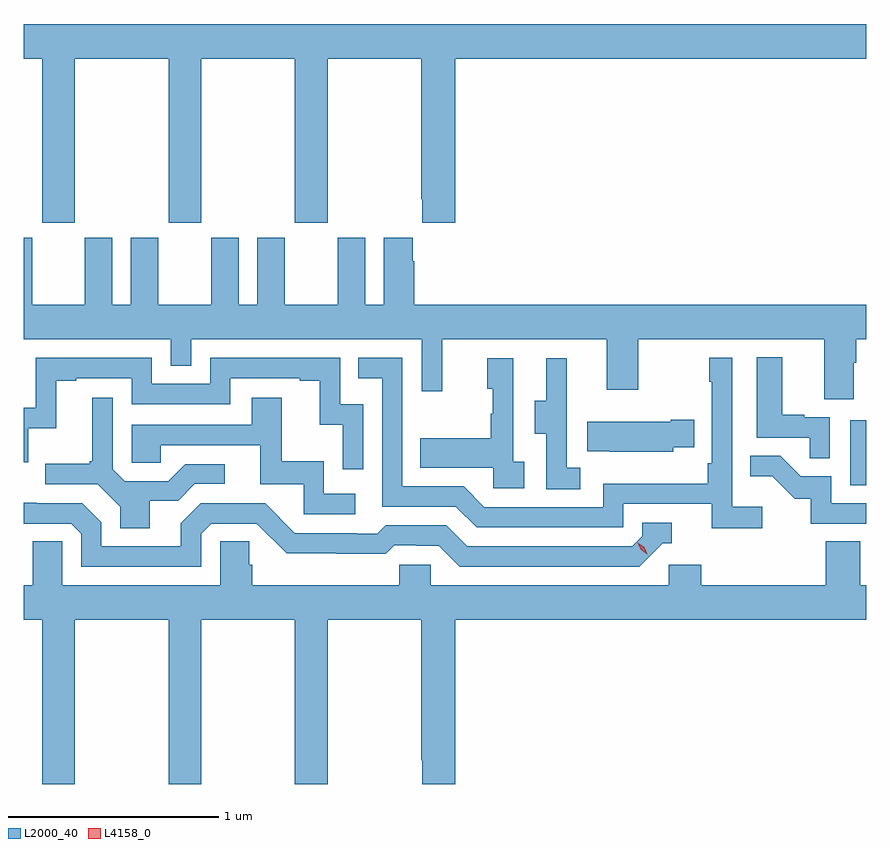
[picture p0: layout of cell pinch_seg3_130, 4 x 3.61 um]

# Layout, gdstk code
import gdstk
lib = gdstk.Library(unit=1e-6, precision=1e-09)
def R(c, l, rs):  # rectangles x0, y0, x1, y1
    for r in rs: c.add(gdstk.rectangle(r[:2], r[2:], *l))
def P(c, l, *ps):  # polygons
    for p in ps: c.add(gdstk.Polygon(p, *l))
L2000_40 = (2000, 40)
L4158_0 = (4158, 0)

pinch_seg3_130 = lib.new_cell('pinch_seg3_130')
R(pinch_seg3_130, L2000_40, [(1141.274,712.212,1141.351,712.519)])
P(pinch_seg3_130, L2000_40, [(1137.594,714.236),(1138.039,714.236),(1138.039,713.457),(1138.194,713.457),(1138.194,714.236),(1138.639,714.236),(1138.639,713.457),(1138.794,713.457),(1138.794,714.236),(1139.239,714.236),(1139.239,713.569),(1139.243,713.569),(1139.243,713.457),(1139.399,713.457),(1139.399,714.236),(1141.351,714.236),(1141.351,714.4),(1137.351,714.4),(1137.351,714.236),(1137.439,714.236),(1137.439,713.457),(1137.594,713.457)],
  [(1141.291,712.792),(1141.304,712.792),(1141.304,712.904),(1141.351,712.904),(1141.351,713.068),(1139.204,713.068),(1139.204,713.273),(1139.197,713.273),(1139.197,713.386),(1139.06,713.386),(1139.06,713.068),(1138.972,713.068),(1138.972,713.386),(1138.841,713.386),(1138.841,713.068),(1138.591,713.068),(1138.591,713.386),(1138.46,713.386),(1138.46,713.068),(1138.372,713.068),(1138.372,713.386),(1138.241,713.386),(1138.241,713.068),(1137.991,713.068),(1137.991,713.386),(1137.86,713.386),(1137.86,713.068),(1137.772,713.068),(1137.772,713.386),(1137.641,713.386),(1137.641,713.068),(1137.391,713.068),(1137.391,713.386),(1137.351,713.386),(1137.351,712.904),(1138.05,712.904),(1138.05,712.777),(1138.146,712.777),(1138.146,712.904),(1139.241,712.904),(1139.241,712.656),(1139.339,712.656),(1139.339,712.904),(1140.119,712.904),(1140.119,712.665),(1140.267,712.665),(1140.267,712.904),(1141.151,712.904),(1141.151,712.618),(1141.291,712.618)],
  [(1141.176,712.533),(1141.055,712.533),(1141.055,712.546),(1140.952,712.546),(1140.952,712.819),(1140.83,712.819),(1140.83,712.437),(1141.081,712.437),(1141.081,712.339),(1141.176,712.339)],
  [(1140.856,712.108),(1140.714,712.108),(1140.714,712.816),(1140.606,712.816),(1140.606,712.703),(1140.618,712.703),(1140.618,712.315),(1140.598,712.315),(1140.598,712.219),(1140.102,712.219),(1140.102,712.107),(1139.538,712.107),(1139.439,712.206),(1139.148,712.206),(1139.148,712.815),(1138.939,712.815),(1138.939,712.719),(1139.052,712.719),(1139.052,712.11),(1139.402,712.11),(1139.501,712.011),(1140.198,712.011),(1140.198,712.122),(1140.617,712.122),(1140.617,712.006),(1140.856,712.006)],
  [(1138.962,712.596),(1138.854,712.596),(1138.854,712.815),(1138.236,712.815),(1138.236,712.692),(1137.96,712.692),(1137.96,712.815),(1137.408,712.815),(1137.408,712.579),(1137.351,712.579),(1137.351,712.32),(1137.372,712.32),(1137.372,712.481),(1137.505,712.481),(1137.505,712.707),(1137.601,712.707),(1137.601,712.719),(1137.864,712.719),(1137.864,712.596),(1138.332,712.596),(1138.332,712.719),(1138.661,712.719),(1138.661,712.707),(1138.757,712.707),(1138.757,712.499),(1138.866,712.499),(1138.866,712.287),(1138.962,712.287)],
  [(1139.992,712.295),(1139.928,712.295),(1139.928,712.599),(1139.93,712.599),(1139.93,712.813),(1139.831,712.813),(1139.831,712.611),(1139.777,712.611),(1139.777,712.456),(1139.832,712.456),(1139.832,712.192),(1139.992,712.192)],
  [(1139.728,712.322),(1139.676,712.322),(1139.676,712.813),(1139.552,712.813),(1139.552,712.668),(1139.578,712.668),(1139.578,712.55),(1139.568,712.55),(1139.568,712.435),(1139.233,712.435),(1139.233,712.295),(1139.58,712.295),(1139.58,712.197),(1139.728,712.197)],
  [(1137.949,712.138),(1138.084,712.138),(1138.164,712.218),(1138.306,712.218),(1138.306,712.311),(1138.118,712.311),(1138.037,712.23),(1137.831,712.23),(1137.774,712.287),(1137.774,712.627),(1137.677,712.627),(1137.677,712.324),(1137.666,712.324),(1137.666,712.312),(1137.453,712.312),(1137.453,712.215),(1137.702,712.215),(1137.809,712.108),(1137.809,712.006),(1137.949,712.006)],
  [(1138.924,712.17),(1138.776,712.17),(1138.776,712.324),(1138.577,712.324),(1138.577,712.627),(1138.433,712.627),(1138.433,712.497),(1137.864,712.497),(1137.864,712.317),(1138.001,712.317),(1138.001,712.401),(1138.475,712.401),(1138.475,712.215),(1138.68,712.215),(1138.68,712.074),(1138.924,712.074)],
  [(1140.435,712.391),(1140.533,712.391),(1140.533,712.521),(1140.422,712.521),(1140.422,712.513),(1140.025,712.513),(1140.025,712.373),(1140.133,712.373),(1140.133,712.37),(1140.435,712.37)],
  [(1141.351,712.125),(1141.185,712.125),(1141.185,712.254),(1141.04,712.254),(1140.942,712.352),(1140.799,712.352),(1140.799,712.253),(1140.903,712.253),(1141.01,712.146),(1141.087,712.146),(1141.087,712.029),(1141.351,712.029)],
  [(1138.194,711.981),(1138.242,712.029),(1138.458,712.029),(1138.6,711.887),(1138.836,711.887),(1138.836,711.885),(1139.069,711.885),(1139.111,711.927),(1139.214,711.927),(1139.214,711.924),(1139.321,711.924),(1139.42,711.825),(1140.273,711.825),(1140.384,711.936),(1140.427,711.936),(1140.427,712.032),(1140.288,712.032),(1140.288,711.969),(1140.24,711.921),(1139.457,711.921),(1139.358,712.02),(1139.069,712.02),(1139.03,711.981),(1138.931,711.981),(1138.931,711.984),(1138.638,711.984),(1138.497,712.125),(1138.191,712.125),(1138.097,712.031),(1138.097,711.921),(1137.72,711.921),(1137.72,712.035),(1137.63,712.125),(1137.414,712.125),(1137.414,712.127),(1137.351,712.127),(1137.351,712.029),(1137.576,712.029),(1137.624,711.981),(1137.624,711.825),(1138.194,711.825)],
  [(1137.594,711.572),(1138.039,711.572),(1138.039,710.793),(1138.194,710.793),(1138.194,711.572),(1138.639,711.572),(1138.639,710.793),(1138.794,710.793),(1138.794,711.572),(1139.239,711.572),(1139.239,710.905),(1139.243,710.905),(1139.243,710.793),(1139.399,710.793),(1139.399,711.572),(1141.351,711.572),(1141.351,711.736),(1141.322,711.736),(1141.322,711.944),(1141.157,711.944),(1141.157,711.736),(1140.566,711.736),(1140.566,711.834),(1140.414,711.834),(1140.414,711.736),(1139.283,711.736),(1139.283,711.834),(1139.133,711.834),(1139.133,711.736),(1138.436,711.736),(1138.436,711.834),(1138.421,711.834),(1138.421,711.944),(1138.284,711.944),(1138.284,711.736),(1137.534,711.736),(1137.534,711.944),(1137.395,711.944),(1137.395,711.736),(1137.351,711.736),(1137.351,711.572),(1137.439,711.572),(1137.439,710.793),(1137.594,710.793)])
P(pinch_seg3_130, L4158_0, [(1140.312,711.884),(1140.282,711.904),(1140.266,711.936),(1140.266,711.937),(1140.266,711.937),(1140.297,711.917),(1140.312,711.884),(1140.312,711.884)])

lib.write_gds('pinch_seg3_130.gds')
